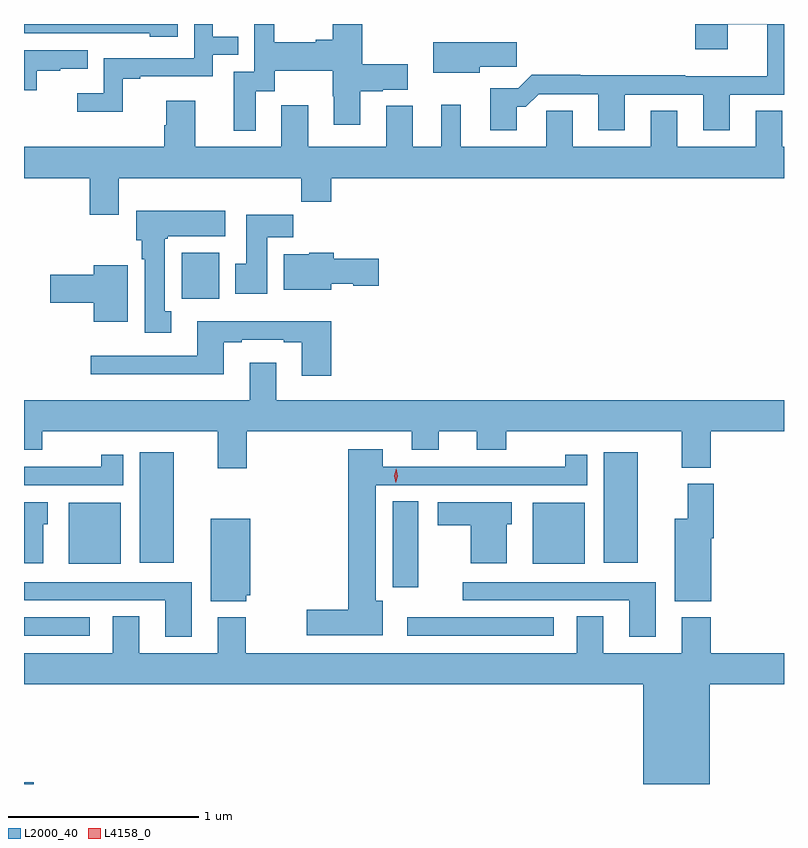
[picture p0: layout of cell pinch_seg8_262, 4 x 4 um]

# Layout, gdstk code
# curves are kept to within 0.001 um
import gdstk
lib = gdstk.Library(unit=1e-6, precision=1e-09)
def R(c, l, rs):  # rectangles x0, y0, x1, y1
    for r in rs: c.add(gdstk.rectangle(r[:2], r[2:], *l))
def P(c, l, *ps):  # polygons
    for p in ps: c.add(gdstk.Polygon(p, *l))
L2000_40 = (2000, 40)
L4158_0 = (4158, 0)

pinch_seg8_262 = lib.new_cell('pinch_seg8_262')
R(pinch_seg8_262, L2000_40, [(496.644,1154.603,496.696,1154.612), (496.644,1155.384,496.99,1155.48), (498.66,1155.384,499.432,1155.48), (498.584,1155.639,498.718,1156.091), (496.88,1155.761,497.152,1156.084), (499.322,1155.761,499.594,1156.084), (497.252,1155.767,497.431,1156.348), (499.694,1155.767,499.873,1156.348), (497.474,1157.156,497.671,1157.398)])
P(pinch_seg8_262, L2000_40, [(497.452,1158.603),(496.644,1158.603),(496.644,1158.555),(497.071,1158.555),(497.071,1158.554),(497.307,1158.554),(497.307,1158.536),(497.452,1158.536)],
  [(497.163,1158.315),(497.257,1158.315),(497.257,1158.327),(497.637,1158.327),(497.637,1158.441),(497.771,1158.441),(497.771,1158.537),(497.637,1158.537),(497.637,1158.603),(497.541,1158.603),(497.541,1158.423),(497.064,1158.423),(497.064,1158.238),(496.923,1158.238),(496.923,1158.14),(497.163,1158.14)],
  [(497.863,1158.25),(497.965,1158.25),(497.965,1158.356),(498.268,1158.356),(498.268,1158.222),(498.275,1158.222),(498.275,1158.072),(498.415,1158.072),(498.415,1158.25),(498.531,1158.25),(498.531,1158.257),(498.664,1158.257),(498.664,1158.392),(498.423,1158.392),(498.423,1158.603),(498.268,1158.603),(498.268,1158.521),(498.179,1158.521),(498.179,1158.508),(497.961,1158.508),(497.961,1158.603),(497.856,1158.603),(497.856,1158.351),(497.747,1158.351),(497.747,1158.042),(497.863,1158.042)],
  [(499.237,1158.167),(499.286,1158.167),(499.353,1158.234),(499.667,1158.234),(499.667,1158.045),(499.807,1158.045),(499.807,1158.231),(500.219,1158.231),(500.219,1158.045),(500.359,1158.045),(500.359,1158.231),(500.644,1158.231),(500.644,1158.603),(499.118,1158.603),(500.177,1158.602),(500.177,1158.471),(500.347,1158.471),(500.347,1158.602),(500.555,1158.602),(500.555,1158.328),(500.123,1158.328),(500.123,1158.332),(499.571,1158.332),(499.571,1158.335),(499.316,1158.335),(499.246,1158.265),(499.097,1158.265),(499.097,1158.045),(499.237,1158.045)],
  [(499.042,1158.379),(499.237,1158.379),(499.237,1158.508),(498.798,1158.508),(498.798,1158.347),(499.042,1158.347)],
  [(496.712,1158.357),(496.835,1158.357),(496.835,1158.368),(496.979,1158.368),(496.979,1158.465),(496.644,1158.465),(496.644,1158.255),(496.712,1158.255)],
  [(497.143,1157.792),(498.103,1157.792),(498.103,1157.668),(498.26,1157.668),(498.26,1157.792),(500.644,1157.792),(500.644,1157.956),(500.635,1157.956),(500.635,1158.146),(500.495,1158.146),(500.495,1157.956),(500.083,1157.956),(500.083,1158.146),(499.943,1158.146),(499.943,1157.956),(499.531,1157.956),(499.531,1158.146),(499.392,1158.146),(499.392,1157.956),(498.943,1157.956),(498.943,1158.178),(498.839,1158.178),(498.839,1157.956),(498.691,1157.956),(498.691,1158.172),(498.551,1158.172),(498.551,1157.956),(498.139,1157.956),(498.139,1158.175),(497.999,1158.175),(497.999,1157.956),(497.545,1157.956),(497.545,1158.199),(497.393,1158.199),(497.393,1158.069),(497.381,1158.069),(497.381,1157.956),(496.644,1157.956),(496.644,1157.792),(496.991,1157.792),(496.991,1157.598),(497.143,1157.598)],
  [(497.419,1157.09),(497.386,1157.09),(497.386,1157.473),(497.4,1157.473),(497.4,1157.486),(497.704,1157.486),(497.704,1157.62),(497.234,1157.62),(497.234,1157.466),(497.264,1157.466),(497.264,1157.366),(497.279,1157.366),(497.279,1156.977),(497.419,1156.977)],
  [(497.923,1157.48),(498.062,1157.48),(498.062,1157.599),(497.813,1157.599),(497.813,1157.34),(497.756,1157.34),(497.756,1157.184),(497.923,1157.184)],
  [(498.262,1157.237),(498.378,1157.237),(498.378,1157.225),(498.511,1157.225),(498.511,1157.367),(498.275,1157.367),(498.275,1157.398),(498.144,1157.398),(498.144,1157.392),(498.011,1157.392),(498.011,1157.204),(498.262,1157.204)],
  [(497.191,1157.332),(497.012,1157.332),(497.012,1157.282),(496.782,1157.282),(496.782,1157.135),(497.012,1157.135),(497.012,1157.036),(497.191,1157.036)],
  [(498.26,1157.038),(497.555,1157.038),(497.555,1156.857),(496.995,1156.857),(496.995,1156.76),(497.695,1156.76),(497.695,1156.929),(497.791,1156.929),(497.791,1156.941),(498.011,1156.941),(498.011,1156.929),(498.107,1156.929),(498.107,1156.752),(498.26,1156.752)],
  [(497.816,1156.46),(498.686,1156.46),(498.686,1156.361),(498.826,1156.361),(498.826,1156.46),(499.028,1156.46),(499.028,1156.361),(499.181,1156.361),(499.181,1156.46),(500.105,1156.46),(500.105,1156.268),(500.258,1156.268),(500.258,1156.46),(500.644,1156.46),(500.644,1156.624),(497.971,1156.624),(497.971,1156.819),(497.831,1156.819),(497.831,1156.624),(496.644,1156.624),(496.644,1156.361),(496.739,1156.361),(496.739,1156.46),(497.663,1156.46),(497.663,1156.266),(497.816,1156.266)],
  [(498.532,1155.568),(498.496,1155.568),(498.496,1156.176),(499.609,1156.176),(499.609,1156.336),(499.492,1156.336),(499.492,1156.274),(499.264,1156.274),(499.264,1156.272),(498.532,1156.272),(498.532,1156.366),(498.35,1156.366),(498.35,1155.521),(498.132,1155.521),(498.132,1155.386),(498.532,1155.386)],
  [(497.167,1156.336),(497.05,1156.336),(497.05,1156.274),(496.822,1156.274),(496.822,1156.272),(496.644,1156.272),(496.644,1156.176),(497.167,1156.176)],
  [(500.26,1155.896),(500.273,1155.896),(500.273,1156.183),(500.138,1156.183),(500.138,1156),(500.069,1156),(500.069,1155.566),(500.26,1155.566)],
  [(496.744,1155.969),(496.768,1155.969),(496.768,1156.087),(496.644,1156.087),(496.644,1155.764),(496.744,1155.764)],
  [(499.186,1155.969),(499.21,1155.969),(499.21,1156.087),(498.822,1156.087),(498.822,1155.965),(498.995,1155.965),(498.995,1155.764),(499.186,1155.764)],
  [(497.814,1155.597),(497.836,1155.597),(497.836,1156),(497.627,1156),(497.627,1155.566),(497.814,1155.566)],
  [(499.969,1155.666),(498.954,1155.666),(498.954,1155.57),(499.829,1155.57),(499.829,1155.378),(499.969,1155.378)],
  [(497.527,1155.666),(496.644,1155.666),(496.644,1155.57),(497.387,1155.57),(497.387,1155.378),(497.527,1155.378)],
  [(500.254,1155.128),(500.644,1155.128),(500.644,1155.292),(500.258,1155.292),(500.258,1155.481),(500.105,1155.481),(500.105,1155.292),(499.693,1155.292),(499.693,1155.485),(499.553,1155.485),(499.553,1155.292),(497.811,1155.292),(497.811,1155.481),(497.663,1155.481),(497.663,1155.292),(497.251,1155.292),(497.251,1155.485),(497.111,1155.485),(497.111,1155.292),(496.644,1155.292),(496.644,1155.128),(499.904,1155.128),(499.904,1154.603),(500.254,1154.603)])
P(pinch_seg8_262, L4158_0, [(498.601,1156.189),(498.601,1156.189),(498.592,1156.225),(498.603,1156.261),(498.604,1156.261),(498.604,1156.261),(498.612,1156.224),(498.601,1156.189)])

lib.write_gds('pinch_seg8_262.gds')
